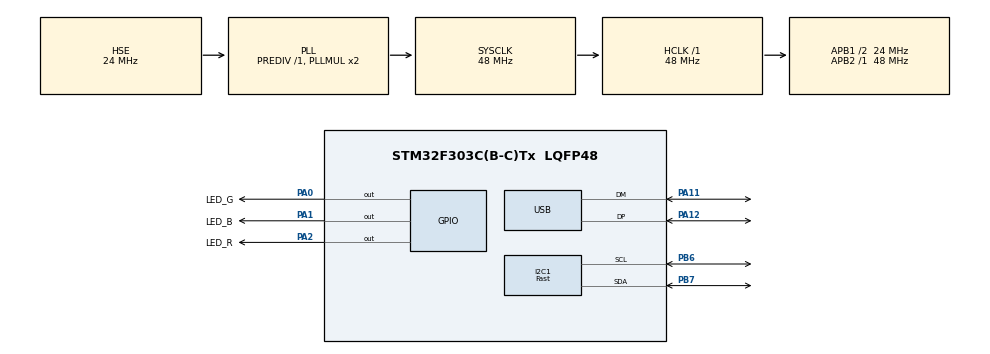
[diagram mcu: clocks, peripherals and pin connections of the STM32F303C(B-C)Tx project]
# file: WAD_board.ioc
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I2C1.I2C_Speed_Mode=I2C_Fast
I2C1.Timing=0x2010091A
Mcu.Family=STM32F3
Mcu.Name=STM32F303C(B-C)Tx
Mcu.Package=LQFP48
NVIC.PriorityGroup=NVIC_PRIORITYGROUP_4
NVIC.USB_LP_CAN_RX0_IRQn=true\:0\:0\:false\:false\:true\:false\:true\:true
PA0.GPIO_Label=LED_G
PA0.PinState=GPIO_PIN_SET
PA0.Signal=GPIO_Output
PA1.GPIO_Label=LED_B
PA1.PinState=GPIO_PIN_SET
PA1.Signal=GPIO_Output
PA11.Mode=Device
PA11.Signal=USB_DM
PA12.Mode=Device
PA12.Signal=USB_DP
PA13.Mode=JTAG_4_pins
PA13.Signal=SYS_JTMS-SWDIO
PA14.Mode=JTAG_4_pins
PA14.Signal=SYS_JTCK-SWCLK
PA15.Mode=JTAG_4_pins
PA15.Signal=SYS_JTDI
PA2.GPIO_Label=LED_R
PA2.PinState=GPIO_PIN_SET
PA2.Signal=GPIO_Output
PB3.Mode=JTAG_4_pins
PB3.Signal=SYS_JTDO-TRACESWO
PB6.Mode=I2C
PB6.Signal=I2C1_SCL
PB7.Mode=I2C
PB7.Signal=I2C1_SDA
PF0-OSC_IN.Mode=HSE-External-Oscillator
PF0-OSC_IN.Signal=RCC_OSC_IN
PF1-OSC_OUT.Mode=HSE-External-Oscillator
PF1-OSC_OUT.Signal=RCC_OSC_OUT
ProjectManager.HeapSize=0x600
ProjectManager.StackSize=0x400
ProjectManager.TargetToolchain=STM32CubeIDE
RCC.AHBFreq_Value=48000000
RCC.APB1CLKDivider=RCC_HCLK_DIV2
RCC.APB1Freq_Value=24000000
RCC.APB1TimFreq_Value=48000000
RCC.APB2Freq_Value=48000000
RCC.APB2TimFreq_Value=48000000
RCC.CortexFreq_Value=48000000
RCC.HCLKFreq_Value=48000000
RCC.HSE_VALUE=24000000
RCC.HSI_VALUE=8000000
RCC.I2c1ClockSelection=RCC_I2C1CLKSOURCE_SYSCLK
RCC.SYSCLKFreq_VALUE=48000000
RCC.SYSCLKSourceVirtual=RCC_SYSCLKSOURCE_PLLCLK
RCC.USBFreq_Value=48000000
USB_DEVICE.CLASS_NAME_FS=CDC
USB_DEVICE.VirtualMode=Cdc
USB_DEVICE.VirtualModeFS=Cdc_FS
VP_USB_DEVICE_VS_USB_DEVICE_CDC_FS.Mode=CDC_FS
board=custom

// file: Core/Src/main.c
/* USER CODE BEGIN Header */
/**
  ********************************************************************************************
  * @file           : main.c
  * @brief          : This program makes an STM32F303CBT6 communicate with three Hall-effect
  * sensors over I2C on the WAD PCB. The three sensors are the ALS31313KLEATR-500,
  * ALS31313KLEATR-1000, and ALS31313KLEATR-2000. In this file, some sensor values or
  * parameters are referred to by appending 500, 1000, or 2000 for shorthand.
  * This program also sends the sensor readings to a USB host device over USB 2.0.
  ********************************************************************************************
  * @attention
  *
  * Copyright (c) 2023 STMicroelectronics.
  * All rights reserved.
  *
  * This software is licensed under terms that can be found in the LICENSE file
  * in the root directory of this software component.
  * If no LICENSE file comes with this software, it is provided AS-IS.
  *
  ******************************************************************************
  */
/* USER CODE END Header */
#include "main.h"
#include "usb_device.h"

/* USER CODE BEGIN Includes */

#include "usbd_cdc_if.h"

/* USER CODE END Includes */

/* USER CODE BEGIN PD */

#define DATA_SIZE (uint16_t)4 // bytes
#define MEM_ADDR_SIZE (uint16_t)2 // bytes
#define TIMEOUT (uint32_t)1000
#define SENS_500 2 // divide by 4 LSB/G
#define SENS_1000 1 // divide by 2 LSB/G

// Sensor I2C Addresses
#define I2C_ADDR_500 (uint16_t)96 // +-500 G sensor (U4)
#define I2C_ADDR_1000 (uint16_t)99 // +-1000 G sensor (U3)
#define I2C_ADDR_2000 (uint16_t)108 // +-2000 G sensor (U5)

/* Debug Exception and Monitor Control Register base address */
#define DEMCR                 *((volatile uint32_t*) 0xE000EDFCu)

/* ITM register addresses */
#define ITM_STIMULUS_PORT0    *((volatile uint32_t*) 0xE0000000u)
#define ITM_TRACE_EN          *((volatile uint32_t*) 0xE0000E00u)

/* Override low-level _write system call */
// used for printf. must end string with \n\r
int _write(int file, char *ptr, int len)
{
	(void) file;
    int DataIdx;
    for (DataIdx = 0; DataIdx < len; DataIdx++)
    {
        ITM_SendChar(*ptr++);
    }
    return len;
}

/* USER CODE END PD */

I2C_HandleTypeDef hi2c1;

void SystemClock_Config(void);
static void MX_GPIO_Init(void);
static void MX_I2C1_Init(void);
/* USER CODE BEGIN PFP */

static void hall_sensor_init(uint16_t dev_address);
static int16_t convert_8_to_16(uint8_t dataFirst, uint8_t dataSecond);
static int16_t single_read_component_field(uint16_t dev_address, uint8_t axis);
static void transmit_component_fields_USB(int32_t x1, int32_t y1, int32_t z1, int32_t x2, int32_t y2, int32_t z2, int32_t x3, int32_t y3, int32_t z3);

/* USER CODE END PFP */

int main(void)
{
  /* USER CODE BEGIN 1 */
	// Enable TRCENA
	DEMCR |= (1 << 24);
	// Enable stimulus port 0
	ITM_TRACE_EN |= ( 1 << 0);

  /* USER CODE END 1 */

  /* MCU Configuration--------------------------------------------------------*/

  /* Reset of all peripherals, Initializes the Flash interface and the Systick. */
  HAL_Init();

  /* Configure the system clock */
  SystemClock_Config();

  /* Initialize all configured peripherals */
  MX_GPIO_Init();
  MX_I2C1_Init();
  MX_USB_DEVICE_Init(); // virtual COM port
  /* USER CODE BEGIN 2 */

  // initialize all hall-effect sensors
  hall_sensor_init(I2C_ADDR_500);
  hall_sensor_init(I2C_ADDR_1000);
  hall_sensor_init(I2C_ADDR_2000);

  /* USER CODE END 2 */

  /* Infinite loop */
  /* USER CODE BEGIN WHILE */
  while (1)
  {
	// Read component fields from ALS31313KLEATR-500
	int32_t x_500 = single_read_component_field(I2C_ADDR_500, 0);
	int32_t y_500 = single_read_component_field(I2C_ADDR_500, 1);
	int32_t z_500 = single_read_component_field(I2C_ADDR_500, 2);

	// Read component fields from ALS31313KLEATR-1000
	int32_t x_1000 = single_read_component_field(I2C_ADDR_1000, 0);
	int32_t y_1000 = single_read_component_field(I2C_ADDR_1000, 1);
	int32_t z_1000 = single_read_component_field(I2C_ADDR_1000, 2);

	// Read component fields from ALS31313KLEATR-2000
	int32_t x_2000 = single_read_component_field(I2C_ADDR_2000, 0);
	int32_t y_2000 = single_read_component_field(I2C_ADDR_2000, 1);
	int32_t z_2000 = single_read_component_field(I2C_ADDR_2000, 2);

	// send data to USB host
	transmit_component_fields_USB(x_500, y_500, z_500, x_1000, y_1000, z_1000, x_2000, y_2000, z_2000);

    /* USER CODE END WHILE */

  }
}

void SystemClock_Config(void)
{
  RCC_OscInitTypeDef RCC_OscInitStruct = {0};
  RCC_ClkInitTypeDef RCC_ClkInitStruct = {0};
  RCC_PeriphCLKInitTypeDef PeriphClkInit = {0};

  /** Initializes the RCC Oscillators according to the specified parameters
  * in the RCC_OscInitTypeDef structure.
  */
  RCC_OscInitStruct.OscillatorType = RCC_OSCILLATORTYPE_HSE;
  RCC_OscInitStruct.HSEState = RCC_HSE_ON;
  RCC_OscInitStruct.HSEPredivValue = RCC_HSE_PREDIV_DIV1;
  RCC_OscInitStruct.HSIState = RCC_HSI_ON;
  RCC_OscInitStruct.PLL.PLLState = RCC_PLL_ON;
  RCC_OscInitStruct.PLL.PLLSource = RCC_PLLSOURCE_HSE;
  RCC_OscInitStruct.PLL.PLLMUL = RCC_PLL_MUL2;
  if (HAL_RCC_OscConfig(&RCC_OscInitStruct) != HAL_OK)
  {
    Error_Handler();
  }

  /** Initializes the CPU, AHB and APB buses clocks
  */
  RCC_ClkInitStruct.ClockType = RCC_CLOCKTYPE_HCLK|RCC_CLOCKTYPE_SYSCLK
                              |RCC_CLOCKTYPE_PCLK1|RCC_CLOCKTYPE_PCLK2;
  RCC_ClkInitStruct.SYSCLKSource = RCC_SYSCLKSOURCE_PLLCLK;
  RCC_ClkInitStruct.AHBCLKDivider = RCC_SYSCLK_DIV1;
  RCC_ClkInitStruct.APB1CLKDivider = RCC_HCLK_DIV2;
  RCC_ClkInitStruct.APB2CLKDivider = RCC_HCLK_DIV1;

  if (HAL_RCC_ClockConfig(&RCC_ClkInitStruct, FLASH_LATENCY_1) != HAL_OK)
  {
    Error_Handler();
  }
  PeriphClkInit.PeriphClockSelection = RCC_PERIPHCLK_USB|RCC_PERIPHCLK_I2C1;
  PeriphClkInit.I2c1ClockSelection = RCC_I2C1CLKSOURCE_SYSCLK;
  PeriphClkInit.USBClockSelection = RCC_USBCLKSOURCE_PLL;
  if (HAL_RCCEx_PeriphCLKConfig(&PeriphClkInit) != HAL_OK)
  {
    Error_Handler();
  }
}

static void MX_I2C1_Init(void)
{

  hi2c1.Instance = I2C1;
  hi2c1.Init.Timing = 0x2010091A;
  hi2c1.Init.OwnAddress1 = 0;
  hi2c1.Init.AddressingMode = I2C_ADDRESSINGMODE_7BIT;
  hi2c1.Init.DualAddressMode = I2C_DUALADDRESS_DISABLE;
  hi2c1.Init.OwnAddress2 = 0;
  hi2c1.Init.OwnAddress2Masks = I2C_OA2_NOMASK;
  hi2c1.Init.GeneralCallMode = I2C_GENERALCALL_DISABLE;
  hi2c1.Init.NoStretchMode = I2C_NOSTRETCH_DISABLE;
  if (HAL_I2C_Init(&hi2c1) != HAL_OK)
  {
    Error_Handler();
  }

  /** Configure Analogue filter
  */
  if (HAL_I2CEx_ConfigAnalogFilter(&hi2c1, I2C_ANALOGFILTER_ENABLE) != HAL_OK)
  {
    Error_Handler();
  }

  /** Configure Digital filter
  */
  if (HAL_I2CEx_ConfigDigitalFilter(&hi2c1, 0) != HAL_OK)
  {
    Error_Handler();
  }

}

static void MX_GPIO_Init(void)
{
  GPIO_InitTypeDef GPIO_InitStruct = {0};

  /* GPIO Ports Clock Enable */
  __HAL_RCC_GPIOF_CLK_ENABLE();
  __HAL_RCC_GPIOA_CLK_ENABLE();
  __HAL_RCC_GPIOB_CLK_ENABLE();

  /*Configure GPIO pin Output Level */
  HAL_GPIO_WritePin(GPIOA, LED_G_Pin|LED_B_Pin|LED_R_Pin, GPIO_PIN_SET);

  /*Configure GPIO pins : LED_G_Pin LED_B_Pin LED_R_Pin */
  GPIO_InitStruct.Pin = LED_G_Pin|LED_B_Pin|LED_R_Pin;
  GPIO_InitStruct.Mode = GPIO_MODE_OUTPUT_PP;
  GPIO_InitStruct.Pull = GPIO_NOPULL;
  GPIO_InitStruct.Speed = GPIO_SPEED_FREQ_LOW;
  HAL_GPIO_Init(GPIOA, &GPIO_InitStruct);

}

/* USER CODE BEGIN 4 */

/**
 * @brief Send component B-field values from three sensors to USB host device
 * @param x1: x-component for ALS31313KLEATR-500
 * @param y1: y-component for ALS31313KLEATR-500
 * @param z1: z-component for ALS31313KLEATR-500
 * @param x2: x-component for ALS31313KLEATR-1000
 * @param y2: y-component for ALS31313KLEATR-1000
 * @param z2: z-component for ALS31313KLEATR-1000
 * @param x3: x-component for ALS31313KLEATR-2000
 * @param y3: y-component for ALS31313KLEATR-2000
 * @param z3: z-component for ALS31313KLEATR-2000
 * @retval None
 */
static void transmit_component_fields_USB(int32_t x1, int32_t y1, int32_t z1, int32_t x2, int32_t y2, int32_t z2, int32_t x3, int32_t y3, int32_t z3)
{
	uint8_t *x1_vals = (uint8_t *)&x1;
	uint8_t *y1_vals = (uint8_t *)&y1;
	uint8_t *z1_vals = (uint8_t *)&z1;

	uint8_t *x2_vals = (uint8_t *)&x2;
	uint8_t *y2_vals = (uint8_t *)&y2;
	uint8_t *z2_vals = (uint8_t *)&z2;

	uint8_t *x3_vals = (uint8_t *)&x3;
	uint8_t *y3_vals = (uint8_t *)&y3;
	uint8_t *z3_vals = (uint8_t *)&z3;
	uint8_t buffer[36] = {0};

	for (uint8_t i = 0; i < sizeof(buffer); ++i)
	{
		if (i <= 3)
		{
      // populate buffer (LSB -> MSB) so that data is received in the right order on the USB host (MSB -> LSB)
			buffer[i] = x1_vals[3 - i];
		}

		else if ((i >= 4) & (i <= 7))
		{
			buffer[i] = y1_vals[7 - i];
		}

		else if ((i >= 8) & (i <= 11))
		{
			buffer[i] = z1_vals[11 - i];
		}

		else if ((i >= 12) & (i <= 15))
		{
			buffer[i] = x2_vals[15 - i];
		}

		else if ((i >= 16) & (i <= 19))
		{
			buffer[i] = y2_vals[19 - i];
		}

		else if ((i >= 20) & (i <= 23))
		{
			buffer[i] = z2_vals[23 - i];
		}

		else if ((i >= 24) & (i <= 27))
		{
			buffer[i] = x3_vals[27 - i];
		}

		else if ((i >= 28) & (i <= 31))
		{
			buffer[i] = y3_vals[31 - i];
		}

		else
		{
			buffer[i] = z3_vals[35 - i];
		}

	}

  // USB device transmit
	CDC_Transmit_FS(buffer, sizeof(buffer));
	HAL_Delay(300);
}

/**
 * @brief Hall Effect Sensor Initialization Function
 * @param dev_address: 7-bit I2C device address
 * @retval None
 */
static void hall_sensor_init(uint16_t dev_address)
{
	// enter customer access code to enable writing to volatile registers
	uint8_t access_code[4] = {0x2C, 0x41, 0x35, 0x34};
	HAL_I2C_Mem_Write(&hi2c1, dev_address << 1, 0x35, I2C_MEMADD_SIZE_8BIT, access_code, DATA_SIZE, TIMEOUT);
	HAL_Delay(1000);

	// Enables X, Y, and Z channels
	// Sets hall mode to 00 and BW select to 000
	// BW Select = 000 corresponds with a three channel update rate of 2 kHz
	uint8_t init_data[4] = {0x00, 0x00, 0x01, 0xC0};
	HAL_I2C_Mem_Write(&hi2c1, dev_address << 1, 0x02, I2C_MEMADD_SIZE_8BIT, init_data, DATA_SIZE, TIMEOUT);
	HAL_Delay(1000);
}

/**
 * @brief Takes two 8 bit values and turns it into a 16 bit value
 * @param dataFirst: First half of binary value
 * @param dataSecond: Second half of binary value
 * @retval dataBoth: uint16_t of combined binary value
 */
static int16_t convert_8_to_16(uint8_t data_first, uint8_t data_second)
{
    int16_t data_both = 0x0000;
    data_both = data_first;
    data_both = data_both << 8;
    data_both |= data_second;
    return data_both;
}

/**
 * @brief Gets field for the x, y, or z axis from a selected sensor
 * @param dev_address: 7-bit I2C device address
 * @param axis: select 0, 1, 2 corresponding to x, y, z, axis
 * @retval b_field: component field
 */
static int16_t single_read_component_field(uint16_t dev_address, uint8_t axis)
{
	uint8_t data[8] = {0};
	uint8_t Msbs[3] = {0};
	uint8_t Lsbs[2] = {0};
	int16_t b_field = 0;
  // read memory addresses 0x28 (MSBs) and 0x29 (LSBs); sequential addresses make it possible to read both with (DATA_SIZE * 2) = 8 bytes
	HAL_I2C_Mem_Read(&hi2c1, dev_address << 1, 0x28, I2C_MEMADD_SIZE_8BIT, data, DATA_SIZE * 2, TIMEOUT); // read MSBs

	// populate MSBs
	for (uint8_t i = 0; i < 3; ++i)
	{
		Msbs[i] = data[i];
	}

	// populate LSBs
	for (uint8_t i = 0; i < 2; ++i)
	{
		Lsbs[i] = data[i + 5];
	}

	if (axis == 0) // x-axis selected
	{
		uint8_t mask = 0x0F;
		uint8_t msb = Msbs[0]; // extract MSBs
		uint8_t lsb = Lsbs[0] & mask; // extract LSBs
		b_field = convert_8_to_16(msb, (lsb << 4)); // combine MSBs and LSBs into 12 bit value
	}

	else if (axis == 1) // y-axis selected
	{
		uint8_t mask = 0xF0;
		uint8_t msb = Msbs[1];
		uint8_t lsb = Lsbs[1] & mask;
		b_field = convert_8_to_16(msb, lsb);
	}

	else // z-axis selected (axis == 2)
	{
		uint8_t mask = 0x0F;
		uint8_t msb = Msbs[2];
		uint8_t lsb = Lsbs[1] & mask;
		b_field = convert_8_to_16(msb, (lsb << 4));
	}

	return (b_field >> 4); // right align 12 bit B-field
}

/* USER CODE END 4 */

void Error_Handler(void)
{
  __disable_irq();
  while (1)
  {
  }
}
